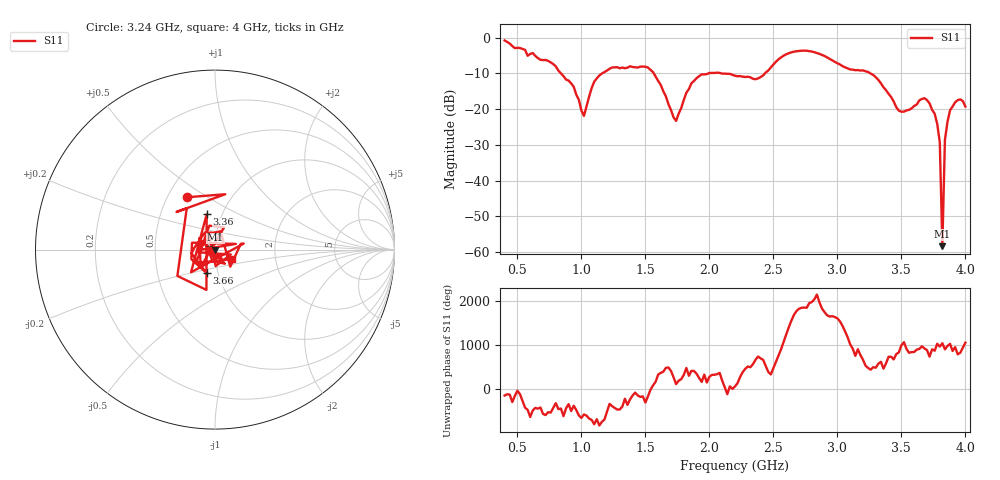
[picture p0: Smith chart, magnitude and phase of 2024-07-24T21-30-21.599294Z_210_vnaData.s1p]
!Created with skrf (http://scikit-rf.org).
# Hz S RI R 50.0
!freq ReS11 ImS11
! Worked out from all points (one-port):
!   181 points, 400 MHz to 4 GHz, reference 50 ohm
!   lowest |S11| = -58.3 dB at 3.82 GHz (marker M1), VSWR 1.00, Z = 50.1 - j0.0789 ohm
!   |S11| at or under -10 dB: 839.8 MHz to 1.163 GHz (323 MHz wide, 32.3 % of centre); 1.565 GHz to 1.993 GHz (427.9 MHz wide, 24 % of centre); 3.257 GHz to end of sweep (the widest 3 of 4)
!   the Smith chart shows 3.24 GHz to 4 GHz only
!   S11 on the Smith chart (normalised r, x): 3.24 GHz: 0.63, +0.41; 3.36 GHz: 0.85, +0.35; 3.66 GHz: 0.88, -0.23; 4 GHz: 1.20, -0.13
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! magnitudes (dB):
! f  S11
! 400 MHz  -0.8
! 860 MHz  -10.8
! 940 MHz  -13.8
! 1.02 GHz  -21.9
! 1.1 GHz  -12.3
! 1.3 GHz  -8.6
! 1.52 GHz  -8.4
! 1.72 GHz  -22.3
! 1.76 GHz  -21.3
! 1.86 GHz  -12.7
! 1.94 GHz  -10.3
! 2.2 GHz  -10.7
! 2.38 GHz  -11.4
! 2.66 GHz  -3.9
! 3.1 GHz  -8.9
! 3.24 GHz  -9.6
! 3.36 GHz  -13.9
! 3.48 GHz  -20.4
! 3.56 GHz  -20.2
! 3.66 GHz  -17.2
! 3.72 GHz  -18.4
! 3.78 GHz  -24.1
! 3.8 GHz  -29.3
! 3.82 GHz  -58.3
! 3.84 GHz  -28.6
! 3.86 GHz  -23.6
! 3.92 GHz  -18.1
! 4 GHz  -19.3
